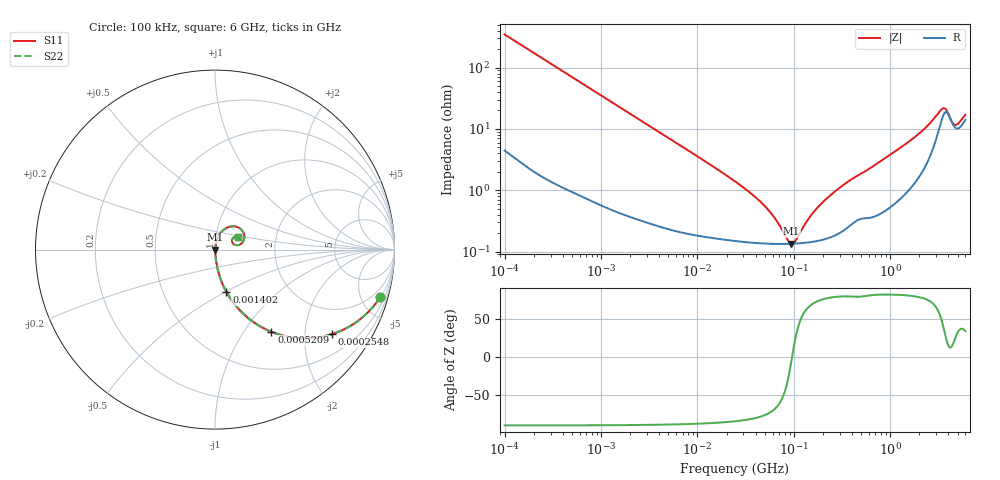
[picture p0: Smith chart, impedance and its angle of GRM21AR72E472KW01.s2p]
!Murata Part Number: GRM21AR72E472KW01
!These Parameters are Measured in Series Mode Connection
!Data Generated on Mar 30, 2021
!  o--ll--o
!Port1  Port2
!  o------o
!Operation Temp=25[degC], DC Bias Voltage=0[V]
!Freq. Start=100[kHz] Stop=6[GHz] 401[Steps]
# Hz S RI R 50
!Freq.(Hz) S11(Real) S11(Imag) S21(Real) S21(Imag) S12(Real) S12(Imag) S22(Real) S22(Imag)
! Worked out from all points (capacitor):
!   401 points, 100 kHz to 6 GHz, reference 50 ohm
!   read as one part in series: C = 4.57 nF near 105.7 kHz
!   lowest |Z| = 135 mohm at 94.28 MHz (marker M1)
!   series resonance near 95.57 MHz, so ESL is about 610 pH
!   S11 on the Smith chart (normalised r, x): 100 kHz: 1.09, -6.95; 254.8 kHz: 1.03, -2.74; 520.9 kHz: 1.02, -1.35; 1.402 MHz: 1.01, -0.50; 6 GHz: 1.28, +0.19
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100000  0.9206 -0.264  0.0794 0.264  0.0794 0.264  0.9206 -0.264
159614  0.8238 -0.3751  0.1762 0.3751  0.1762 0.3751  0.8238 -0.3751
254767  0.6514 -0.4707  0.3486 0.4707  0.3486 0.4707  0.6514 -0.4707
364278  0.4806 -0.4935  0.5194 0.4935  0.5194 0.4935  0.4806 -0.4935
520862  0.3147 -0.4577  0.6853 0.4577  0.6853 0.4577  0.3147 -0.4577
631452  0.2398 -0.4199  0.7602 0.4199  0.7602 0.4199  0.2398 -0.4199
1402027  0.0636 -0.2352  0.9364 0.2352  0.9364 0.2352  0.0636 -0.2352
3987316  0.0104 -0.0882  0.9896 0.0882  0.9896 0.0882  0.0104 -0.0882
2.517799e7  0.00166 -0.0134  0.9983 0.0134  0.9983 0.0134  0.00166 -0.0134
5.291103e7  0.00137 -0.0048  0.9986 0.0048  0.9986 0.0048  0.00137 -0.0048
6.593397e7  0.00134 -0.00291  0.9987 0.00291  0.9987 0.00291  0.00134 -0.00291
8.680865e7  0.00134 -0.000739  0.9987 0.000739  0.9987 0.000739  0.00134 -0.000739
9.427557e7  0.00134 -0.000104  0.9987 0.000104  0.9987 0.000104  0.00134 -0.000104
1.0524e8  0.00135 0.000742  0.9986 -0.000742  0.9986 -0.000742  0.00135 0.000742
1.546735e8  0.00145 0.00385  0.9985 -0.00385  0.9985 -0.00385  0.00145 0.00385
3.076454e8  0.00218 0.0112  0.9978 -0.0112  0.9978 -0.0112  0.00218 0.0112
9.76689e8  0.00645 0.0364  0.9936 -0.0364  0.9936 -0.0364  0.00645 0.0364
2.355095e9  0.0354 0.0977  0.9646 -0.0977  0.9646 -0.0977  0.0354 0.0977
3.367428e9  0.1334 0.1216  0.8666 -0.1216  0.8666 -0.1216  0.1334 0.1216
3.759065e9  0.1641 0.065  0.8359 -0.065  0.8359 -0.065  0.1641 0.065
4.68428e9  0.097 0.0388  0.903 -0.0388  0.903 -0.0388  0.097 0.0388
6e9  0.1293 0.0726  0.8707 -0.0726  0.8707 -0.0726  0.1293 0.0726
